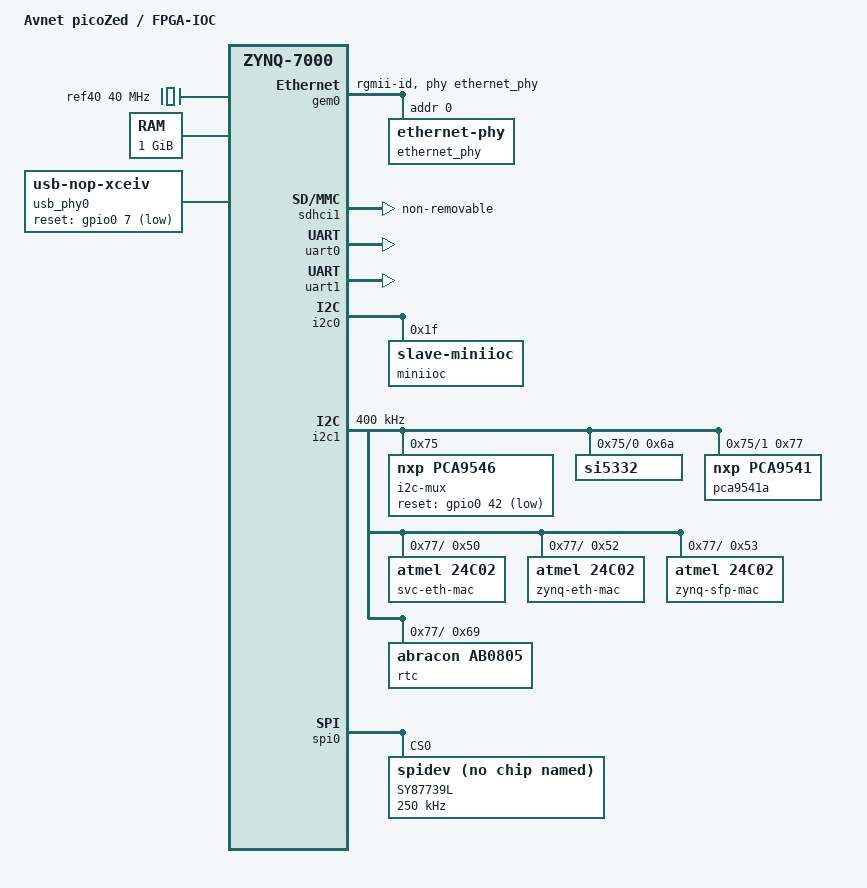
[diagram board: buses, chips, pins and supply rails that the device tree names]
/*
 * Avnet PicoZed board DTS
 * Modified for FPGA-IOC
 */ 
 
/dts-v1/;
/include/ "zynq-7000.dtsi"
/include/ "zynq-7000-qspi-dummy.dtsi"

/ {
    model = "Avnet picoZed / FPGA-IOC";
    compatible = "avnet,picozed", "xlnx,zynq-7000";

    ref40: ref40M {
        compatible = "fixed-clock";
        #clock-cells = <0>;
        clock-frequency = <40000000>;
    };

    aliases {
        ethernet0 = &gem0;
        serial0 = &uart0;
        serial1 = &uart1;
        mmc0 = &sdhci1;
    };

    memory {
        device_type = "memory";
        reg = <0x0 0x40000000>;
    };

    chosen {
        bootargs = "earlyprintk console=ttyPS0,115200 root=/dev/mmcblk0p2 rw rootdelay=2 rootfstype=ext3";
        stdout-path = "serial0:115200n8";
    };

    usb_phy0: phy0 {
        compatible = "usb-nop-xceiv";
        #phy-cells = <0>;
        reset-gpios = <&gpio0 7 1>; /* MIO 7, GPIO_ACTIVE_LOW */
    };
};

&gem0 {
    status = "okay";
    phy-mode = "rgmii-id";
    phy-handle = <&ethernet_phy>;

    ethernet_phy: ethernet-phy@0 {
        device_type = "ethernet-phy";
        reg = <0>;
    };
};

&sdhci0 {
    status = "disabled";
}; 

&sdhci1 {
    status = "okay";
    /* SD1 is connected to a non-removable eMMC flash device */
    non-removable;
};

&uart0 {
    status = "okay";
};

&uart1 {
    status = "okay";
};

&i2c0 {
    status = "okay";

    miniioc@1f {
        compatible = "linux,slave-miniioc";
        reg = <0x1f>;
    };

};

&i2c1 {
    status = "okay";
    clock-frequency = <400000>;

    i2c-mux@75 {
        compatible = "nxp,pca9546";
        #address-cells = <1>;
        #size-cells = <0>;
        reset-gpios = <&gpio0 42 1>;
        reg = <0x75>;

        i2c@0 {
            #address-cells = <1>;
            #size-cells = <0>;
            reg = <0>;
            si5332@6a {
                compatible = "linux,si5332";
                reg = <0x6a>;
            };
        };

        i2c@1 {
            #address-cells = <1>;
            #size-cells = <0>;
            reg = <1>;

            pca9541a@77 {
                compatible = "nxp,pca9541";
                reg = <0x77>;

                i2c-arb {
                    #address-cells = <1>;
                    #size-cells = <0>;
/*
 -- These devices are on the i2c bus, but do not have linux drivers
                    pac1934-0@10 {
                        reg = <0x10>;
                    };

                    pac1934-1@11 {
                        reg = <0x11>;
                    };

                    temp@49 {
                        reg = <0x49>;
                    };

                    adp5051@4a {
                        reg = <0x4a>;
                    };
*/
                    svc-eth-mac@50 {
                        compatible = "atmel,24c02";
                        reg = <0x50>;
                    };

                    zynq-eth-mac@52 {
                        compatible = "atmel,24c02";
                        reg = <0x52>;
                    };

                    zynq-sfp-mac@53 {
                        compatible = "atmel,24c02";
                        reg = <0x53>;
                    };

                    rtc@69 {
                        compatible = "abracon,ab0805";
                        reg = <0x69>;
                        abracon,tc-diode = "standard";
                    };
                };
            };
        };

        i2c@2 {
            #address-cells = <1>;
            #size-cells = <0>;
            reg = <2>;
        };

        i2c@3 {
            #address-cells = <1>;
            #size-cells = <0>;
            reg = <3>;
        };
    };
};

&usb0 {
    status = "disabled";
    dr_mode = "host";
    usb-phy = <&usb_phy0>;
};

&qspi {
    status = "disabled";
};

&spi0 {
    status = "okay";
    SY87739L@0{
        compatible="spidev";
        reg = <0>; //chipselect 0
        spi-max-frequency= <250000>;
    };
};

